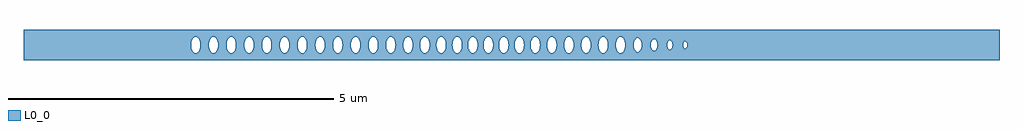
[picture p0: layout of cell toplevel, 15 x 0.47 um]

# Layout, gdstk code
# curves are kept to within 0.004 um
import gdstk
lib = gdstk.Library(unit=1e-6, precision=1e-09)
def P(c, l, *ps):  # polygons
    for p in ps: c.add(gdstk.Polygon(p, *l))
L0_0 = (0, 0)

toplevel = lib.new_cell('toplevel')
P(toplevel, L0_0, [(-4.377,0.032),(-4.365,0.074),(-4.365,0.234),(-7.5,0.234),(-7.5,-0.016),(-4.925,-0.016),(-4.922,0.039),(-4.909,0.081),(-4.888,0.112),(-4.853,0.128),(-4.826,0.119),(-4.803,0.093),(-4.785,0.047),(-4.781,-0.016),(-4.652,-0.016),(-4.649,0.039),(-4.636,0.081),(-4.615,0.112),(-4.58,0.128),(-4.553,0.119),(-4.53,0.093),(-4.514,0.054),(-4.507,0),(-4.514,-0.054),(-4.53,-0.093),(-4.553,-0.119),(-4.58,-0.128),(-4.606,-0.119),(-4.626,-0.098),(-4.641,-0.068),(-4.652,-0.016),(-4.781,-0.016),(-4.785,-0.047),(-4.803,-0.093),(-4.826,-0.119),(-4.853,-0.128),(-4.879,-0.119),(-4.899,-0.098),(-4.914,-0.068),(-4.925,-0.016),(-7.5,-0.016),(-7.5,-0.234),(-4.365,-0.234),(-4.365,-0.075),(-4.379,-0.016)],
  [(-3.831,0.032),(-3.82,0.075),(-3.8,0.108),(-3.775,0.125),(-3.747,0.125),(-3.747,0.234),(-4.365,0.234),(-4.365,0.075),(-4.334,0.119),(-4.307,0.128),(-4.28,0.119),(-4.257,0.093),(-4.243,0.061),(-4.235,-0.016),(-4.106,-0.016),(-4.104,0.032),(-4.093,0.075),(-4.069,0.112),(-4.034,0.128),(-4.007,0.119),(-3.984,0.093),(-3.968,0.054),(-3.962,0.016),(-3.964,-0.032),(-3.975,-0.075),(-3.995,-0.108),(-4.02,-0.125),(-4.048,-0.125),(-4.077,-0.103),(-4.093,-0.075),(-4.106,-0.016),(-4.235,-0.016),(-4.241,-0.054),(-4.257,-0.093),(-4.272,-0.112),(-4.293,-0.125),(-4.307,-0.128),(-4.334,-0.119),(-4.365,-0.075),(-4.365,-0.234),(-3.747,-0.234),(-3.747,-0.125),(-3.761,-0.128),(-3.788,-0.119),(-3.811,-0.093),(-3.83,-0.039)],
  [(-3.691,-0.032),(-3.708,-0.087),(-3.726,-0.112),(-3.747,-0.125),(-3.747,-0.234),(-3.166,-0.234),(-3.166,-0.093),(-3.18,-0.112),(-3.202,-0.125),(-3.215,-0.128),(-3.242,-0.119),(-3.274,-0.075),(-3.288,0),(-3.274,0.075),(-3.242,0.119),(-3.215,0.128),(-3.202,0.125),(-3.18,0.112),(-3.166,0.093),(-3.166,0.234),(-3.747,0.234),(-3.747,0.125),(-3.722,0.108),(-3.702,0.075),(-3.689,0),(-3.561,0),(-3.554,0.054),(-3.538,0.093),(-3.515,0.119),(-3.488,0.128),(-3.461,0.119),(-3.449,0.108),(-3.432,0.081),(-3.419,0.039),(-3.416,-0.016),(-3.427,-0.068),(-3.449,-0.108),(-3.475,-0.125),(-3.488,-0.128),(-3.515,-0.119),(-3.538,-0.093),(-3.554,-0.054),(-3.561,0),(-3.689,0)],
  [(-3.145,-0.032),(-3.166,-0.093),(-3.166,-0.234),(-2.468,-0.234),(-2.468,0.234),(-3.166,0.234),(-3.166,0.093),(-3.146,0.039),(-3.143,-0.008),(-3.015,-0.008),(-3.01,0.047),(-2.992,0.093),(-2.969,0.119),(-2.942,0.128),(-2.907,0.112),(-2.886,0.081),(-2.873,0.039),(-2.87,-0.008),(-2.742,-0.008),(-2.737,0.047),(-2.712,0.103),(-2.683,0.125),(-2.669,0.128),(-2.643,0.119),(-2.623,0.098),(-2.608,0.068),(-2.597,-0.008),(-2.602,-0.047),(-2.62,-0.093),(-2.634,-0.112),(-2.656,-0.125),(-2.683,-0.125),(-2.712,-0.103),(-2.733,-0.061),(-2.742,-0.008),(-2.87,-0.008),(-2.875,-0.047),(-2.893,-0.093),(-2.916,-0.119),(-2.942,-0.128),(-2.969,-0.119),(-2.992,-0.093),(-3.01,-0.047),(-3.015,-0.008),(-3.143,-0.008)],
  [(-2.465,0.039),(-2.443,0.098),(-2.423,0.119),(-2.396,0.128),(-2.37,0.119),(-2.347,0.093),(-2.329,0.047),(-2.324,-0.008),(-2.197,-0.008),(-2.192,0.047),(-2.174,0.093),(-2.151,0.119),(-2.124,0.128),(-2.098,0.119),(-2.071,0.087),(-2.055,0.039),(-2.052,-0.016),(-2.063,-0.068),(-2.078,-0.098),(-2.098,-0.119),(-2.124,-0.128),(-2.151,-0.119),(-2.174,-0.093),(-2.192,-0.047),(-2.197,-0.008),(-2.324,-0.008),(-2.329,-0.047),(-2.347,-0.093),(-2.37,-0.119),(-2.396,-0.128),(-2.423,-0.119),(-2.443,-0.098),(-2.458,-0.068),(-2.468,-0.027),(-2.468,-0.234),(-1.882,-0.234),(-1.882,-0.119),(-1.911,-0.081),(-1.927,-0.016),(-1.925,0.032),(-1.916,0.068),(-1.901,0.098),(-1.882,0.119),(-1.882,0.234),(-2.468,0.234)],
  [(-1.873,0.123),(-1.841,0.125),(-1.82,0.112),(-1.805,0.093),(-1.789,0.054),(-1.783,-0.008),(-1.663,-0.008),(-1.658,0.047),(-1.637,0.098),(-1.613,0.121),(-1.59,0.128),(-1.577,0.125),(-1.552,0.108),(-1.532,0.075),(-1.52,0.032),(-1.518,-0.008),(-1.523,-0.047),(-1.541,-0.093),(-1.564,-0.119),(-1.59,-0.128),(-1.617,-0.119),(-1.637,-0.098),(-1.652,-0.068),(-1.663,-0.008),(-1.783,-0.008),(-1.791,-0.061),(-1.816,-0.108),(-1.828,-0.119),(-1.855,-0.128),(-1.882,-0.119),(-1.882,-0.234),(-1.301,-0.234),(-1.301,-0.115),(-1.332,-0.128),(-1.367,-0.112),(-1.391,-0.075),(-1.404,-0.016),(-1.398,0.054),(-1.375,0.103),(-1.359,0.119),(-1.332,0.128),(-1.301,0.115),(-1.301,0.234),(-1.882,0.234),(-1.882,0.119)],
  [(-1.262,-0.032),(-1.273,-0.075),(-1.301,-0.115),(-1.301,-0.234),(-0.664,-0.234),(-0.664,0.234),(-1.301,0.234),(-1.301,0.115),(-1.273,0.075),(-1.263,0.039),(-1.26,-0.008),(-1.153,-0.008),(-1.148,0.047),(-1.13,0.093),(-1.107,0.119),(-1.08,0.128),(-1.054,0.119),(-1.027,0.087),(-1.011,0.039),(-1.008,-0.008),(-0.907,-0.008),(-0.902,0.047),(-0.881,0.098),(-0.848,0.125),(-0.835,0.128),(-0.808,0.119),(-0.788,0.098),(-0.773,0.068),(-0.762,-0.008),(-0.776,-0.075),(-0.788,-0.098),(-0.812,-0.121),(-0.835,-0.128),(-0.861,-0.119),(-0.873,-0.108),(-0.896,-0.068),(-0.907,-0.008),(-1.008,-0.008),(-1.011,-0.039),(-1.027,-0.087),(-1.054,-0.119),(-1.08,-0.128),(-1.107,-0.119),(-1.13,-0.093),(-1.148,-0.047),(-1.153,-0.008),(-1.26,-0.008)],
  [(-0.19,0.016),(-0.177,0.074),(-0.177,0.234),(-0.664,0.234),(-0.664,0.032),(-0.65,0.081),(-0.633,0.108),(-0.612,0.123),(-0.589,0.127),(-0.559,0.112),(-0.535,0.075),(-0.525,0.039),(-0.522,-0.016),(-0.428,-0.016),(-0.425,0.039),(-0.412,0.081),(-0.391,0.112),(-0.356,0.128),(-0.329,0.119),(-0.306,0.093),(-0.29,0.054),(-0.283,0),(-0.29,-0.054),(-0.306,-0.093),(-0.329,-0.119),(-0.356,-0.128),(-0.382,-0.119),(-0.402,-0.098),(-0.417,-0.068),(-0.428,-0.016),(-0.522,-0.016),(-0.528,-0.054),(-0.544,-0.093),(-0.567,-0.119),(-0.594,-0.128),(-0.633,-0.108),(-0.65,-0.081),(-0.664,-0.034),(-0.664,-0.234),(-0.177,-0.234),(-0.177,-0.075),(-0.189,-0.032)],
  [(-0.168,0.093),(-0.153,0.112),(-0.132,0.125),(-0.119,0.128),(-0.096,0.121),(-0.072,0.098),(-0.057,0.068),(-0.046,-0.008),(0.048,-0.008),(0.053,0.047),(0.071,0.093),(0.094,0.119),(0.121,0.128),(0.134,0.125),(0.156,0.112),(0.179,0.075),(0.19,0.039),(0.193,-0.008),(0.188,-0.047),(0.17,-0.093),(0.147,-0.119),(0.121,-0.128),(0.094,-0.119),(0.071,-0.093),(0.053,-0.047),(0.048,-0.008),(-0.046,-0.008),(-0.051,-0.047),(-0.069,-0.093),(-0.084,-0.112),(-0.105,-0.125),(-0.119,-0.128),(-0.145,-0.119),(-0.177,-0.075),(-0.177,-0.234),(0.384,-0.234),(0.384,-0.123),(0.353,-0.125),(0.32,-0.098),(0.305,-0.068),(0.294,-0.008),(0.299,0.047),(0.32,0.098),(0.353,0.125),(0.384,0.123),(0.384,0.234),(-0.177,0.234),(-0.177,0.075)],
  [(0.811,0.014),(0.821,0.068),(0.836,0.098),(0.856,0.119),(0.883,0.128),(0.909,0.119),(0.929,0.098),(0.944,0.068),(0.954,0.024),(0.954,0.234),(0.384,0.234),(0.384,0.123),(0.405,0.108),(0.428,0.068),(0.438,0.024),(0.438,-0.016),(0.549,-0.016),(0.552,0.039),(0.565,0.081),(0.586,0.112),(0.621,0.128),(0.648,0.119),(0.671,0.093),(0.689,0.047),(0.694,0.008),(0.689,-0.047),(0.671,-0.093),(0.648,-0.119),(0.621,-0.128),(0.595,-0.119),(0.575,-0.098),(0.56,-0.068),(0.549,-0.016),(0.438,-0.016),(0.434,-0.047),(0.416,-0.093),(0.384,-0.123),(0.384,-0.234),(0.954,-0.234),(0.954,-0.027),(0.944,-0.068),(0.921,-0.108),(0.896,-0.125),(0.869,-0.125),(0.844,-0.108),(0.821,-0.068),(0.811,-0.027)],
  [(1.604,0.016),(1.614,0.068),(1.645,0.115),(1.645,0.234),(0.954,0.234),(0.954,-0.016),(1.074,-0.016),(1.076,0.032),(1.087,0.075),(1.111,0.112),(1.146,0.128),(1.173,0.119),(1.196,0.093),(1.215,0.039),(1.218,-0.008),(1.337,-0.008),(1.34,0.039),(1.36,0.093),(1.383,0.119),(1.409,0.128),(1.436,0.119),(1.459,0.093),(1.477,0.047),(1.482,0.008),(1.477,-0.047),(1.459,-0.093),(1.436,-0.119),(1.409,-0.128),(1.383,-0.119),(1.363,-0.098),(1.348,-0.068),(1.337,-0.008),(1.218,-0.008),(1.213,-0.047),(1.196,-0.093),(1.173,-0.119),(1.146,-0.128),(1.119,-0.119),(1.096,-0.093),(1.08,-0.054),(1.074,-0.016),(0.954,-0.016),(0.954,-0.234),(1.645,-0.234),(1.645,-0.115),(1.614,-0.068),(1.604,-0.024)],
  [(2.141,0.017),(2.146,0.044),(2.161,0.074),(2.179,0.089),(2.202,0.09),(2.202,0.234),(1.645,0.234),(1.645,0.115),(1.68,0.127),(1.702,0.119),(1.722,0.098),(1.743,0.047),(1.747,-0.014),(1.877,-0.014),(1.88,0.034),(1.891,0.07),(1.916,0.102),(1.939,0.11),(1.962,0.102),(1.982,0.08),(1.994,0.053),(2.001,0.014),(1.998,-0.034),(1.987,-0.07),(1.966,-0.099),(1.939,-0.11),(1.916,-0.102),(1.899,-0.084),(1.883,-0.047),(1.877,-0.014),(1.747,-0.014),(1.737,-0.068),(1.71,-0.112),(1.675,-0.128),(1.645,-0.115),(1.645,-0.234),(2.202,-0.234),(2.202,-0.09),(2.179,-0.089),(2.156,-0.067),(2.141,-0.023)],
  [(2.242,-0.023),(2.23,-0.063),(2.202,-0.09),(2.202,-0.234),(7.5,-0.234),(7.5,0.234),(2.202,0.234),(2.202,0.09),(2.225,0.071),(2.236,0.049),(2.243,-0.014),(2.392,-0.014),(2.392,0.014),(2.401,0.047),(2.413,0.065),(2.431,0.074),(2.454,0.065),(2.466,0.047),(2.475,-0.01),(2.637,-0.01),(2.641,0.03),(2.651,0.047),(2.666,0.056),(2.687,0.045),(2.698,0.021),(2.7,-0.007),(2.693,-0.036),(2.67,-0.056),(2.648,-0.043),(2.637,-0.01),(2.475,-0.01),(2.462,-0.054),(2.436,-0.074),(2.409,-0.06),(2.392,-0.014),(2.243,-0.014)])

lib.write_gds('toplevel.gds')
